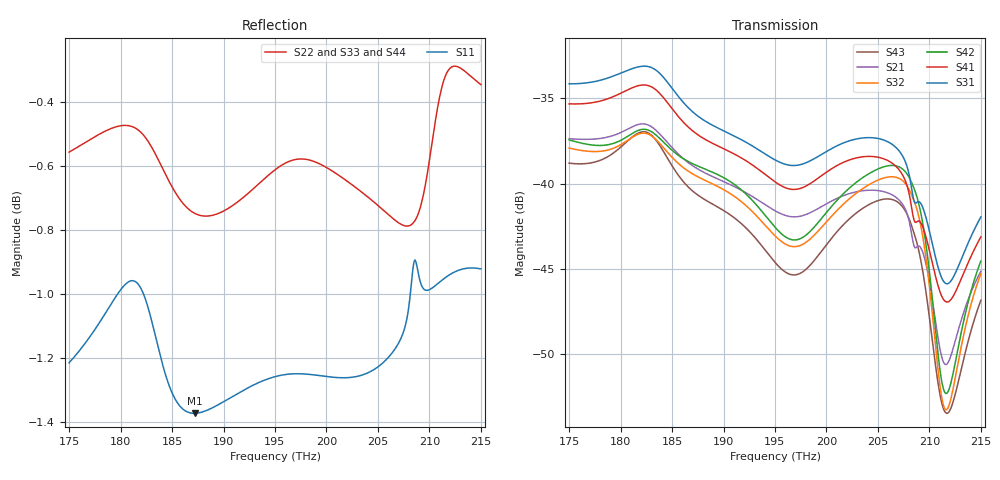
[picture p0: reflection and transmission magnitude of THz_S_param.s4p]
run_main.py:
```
'''
Author: Rasul Choupanzadeh
Date: 08/23/2022

# Acknowledgement
This project is completed as part of research conducted with my major professor and advisor, Prof. Ata Zadehgol, in the Applied Computational Electromagnetics and Signal/Power Integrity (ACEM-SPI) Lab while working toward the Ph.D. in Electrical Engineering at the University of Idaho, Moscow, Idaho, USA. 
This project was supported by a research grant from the National Science Foundation, under the NSF Award #1816542 [1].
[1] A. Zadehgol, "SHF: SMALL: A Novel Algorithm for Automated Synthesis of Passive, Causal, and Stable Models for Optical Interconnects", National Science Foundation, Award #1816542. Jun. 22, 2018.

'''

import os
import numpy as np


PROJECT_ROOT_DIR = "./Output/"
Output_PATH = os.path.join(PROJECT_ROOT_DIR)
os.makedirs(Output_PATH, exist_ok=True)

#----------------------------------------------------------------Automated SROPEE inputs--------------------------------------------------------
################################################
# General input
################################################
Input_file_name = 'THz_S_param.s4p'


################################################
# Full synthesis inputs
################################################
Num_poles = 50

VF_iter1 = 4                            # Iteration number for calculating improved initial poles by fitting column sum in vector fitting algorithm
VF_iter2 = 10                           # Iteration number for calculating poles and residues in vector fitting algorithm
weight_f = 'sqrt_abs'                   # Choose between 'unweighted', 'abs', and 'sqrt_abs' weight types for f                      Note: 'abs' is strongest inverse wieght
weight_column_sum = 'norm'              # Choose between 'unweighted', 'norm', and 'sqrt_norm' weight types for g (column sum)       Note: 'norm' is strongest inverse wieght
VF_relax = True                         # Enable/disable relaxed vector fitting
VF_stable = True                        # Enable/disable enforce stablility of fitted poles
VF_asymp = 1                            # Fitting model (asymp=0  fits with None, asymp=1  fits with D, asymp=2  fits with D and E)

Passivity_Enforcement_Enable = True     # Enable/disable passivity assessment/enforcement 
SMP_iter_upper_limit = 10               # Passivity enforcement iteration upper limit

################################################
# Passive MOR input
################################################
n = 144                         # n = order of reduction, may be estimated according to the order of original network (N)
                                # N=2*Num_pols (i.e.,p) * number of sub-circuits, where Num_subckt=int((p*(p+1))/2)

################################################
# Reduced synthesis input
################################################
in_port = 1                     # port of input source 1,2,...,p




# Saving all input variables into .npy file
path = os.path.join(Output_PATH, 'input_variables.npy')
np.save(path, [Input_file_name, Num_poles, VF_iter1, VF_iter2, weight_f, weight_column_sum, VF_relax, VF_stable, VF_asymp, Passivity_Enforcement_Enable, SMP_iter_upper_limit, n, in_port])


#--------------------------------------------------------------Run Automated SROPEE algorithm------------------------------------------------------
import sys
sys.path.insert(0, '1_Full synthesis') 
sys.path.insert(1, '2_Passive MOR') 
sys.path.insert(2, '3_Reduced synthesis') 
import Run_full_synthesis
import Run_passive_MOR
import Run_reduced_synthesis


print('\n********************************* SROPEE algorithm is completed *************************************\n')
```
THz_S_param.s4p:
! Created Mon Jul 25 09:22:13 2022
# hz S ri R 50
! 4 Port Network Data from SP1.SP block
! freq  reS11  imS11  reS12  imS12  reS13  imS13  reS14  imS14
!  reS21  imS21  reS22  imS22  reS23  imS23  reS24  imS24
!  reS31  imS31  reS32  imS32  reS33  imS33  reS34  imS34
!  reS41  imS41  reS42  imS42  reS43  imS43  reS44  imS44
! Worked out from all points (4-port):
!   401 points, 175 THz to 215 THz, reference 50 ohm
!   strongest paths, dB at 175 THz, 185 THz, 195 THz, 205 THz, 215 THz:
!     S31: -34.1, -34.4, -38.6, -37.4, -42.0
!     S41: -35.3, -35.6, -39.9, -38.5, -43.1
!     S42: -37.4, -38.0, -42.6, -39.1, -44.6
!     S32: -37.9, -38.5, -43.1, -39.8, -45.3
!     S21: -37.4, -37.9, -41.6, -40.4, -45.2
!     S43: -38.8, -39.0, -44.6, -41.0, -46.9
!   lowest |S11| = -1.4 dB at 187.2 THz (marker M1), VSWR 12.68, Z = 3.94 - j0.768 ohm
!   |S11| at or under -10 dB: nowhere
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1.75e14  -0.8637 -0.1003  0.0121 -0.00616  0.0174 -0.00905  0.0152 -0.008
         0.0121 -0.00616  -0.9357 -0.0654  0.0104 -0.00734  0.0108 -0.00798
         0.0174 -0.00905  0.0104 -0.00734  -0.9138 -0.0859  0.00949 -0.00646
         0.0152 -0.008  0.0108 -0.00798  0.00949 -0.00646  -0.9199 -0.082
1.872e14  -0.8534 -0.0264  0.00936 -0.0061  0.0127 -0.00976  0.0113 -0.00849
          0.00936 -0.0061  -0.9175 -0.00707  0.00883 -0.00584  0.0097 -0.00592
          0.0127 -0.00976  0.00883 -0.00584  -0.8957 -0.0229  0.00707 -0.00619
          0.0113 -0.00849  0.0097 -0.00592  0.00707 -0.00619  -0.8999 -0.0195
2.15e14  -0.8975 0.0574  0.00385 0.00397  0.00593 0.00534  0.00516 0.00469
         0.00385 0.00397  -0.9595 0.0546  0.0023 0.00492  0.00251 0.00536
         0.00593 0.00534  0.0023 0.00492  -0.9452 0.0657  0.00212 0.00402
         0.00516 0.00469  0.00251 0.00536  0.00212 0.00402  -0.9475 0.063
